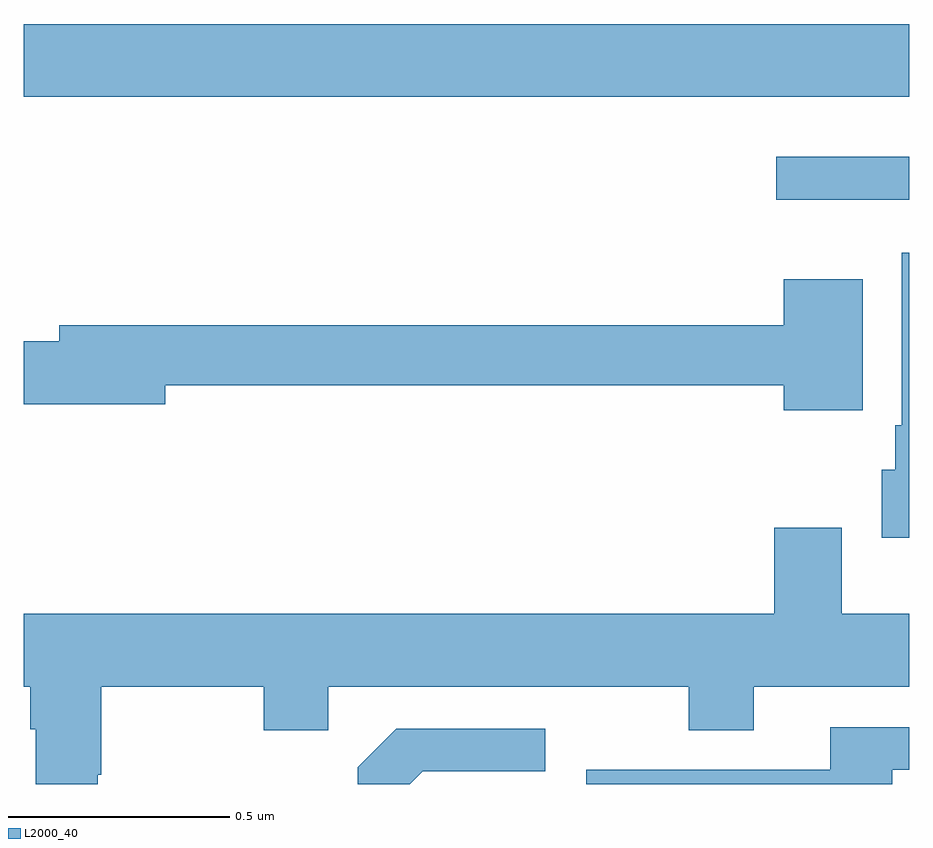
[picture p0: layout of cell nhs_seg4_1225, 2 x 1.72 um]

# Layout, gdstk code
import gdstk
lib = gdstk.Library(unit=1e-6, precision=1e-09)
def R(c, l, rs):  # rectangles x0, y0, x1, y1
    for r in rs: c.add(gdstk.rectangle(r[:2], r[2:], *l))
def P(c, l, *ps):  # polygons
    for p in ps: c.add(gdstk.Polygon(p, *l))
L2000_40 = (2000, 40)

nhs_seg4_1225 = lib.new_cell('nhs_seg4_1225')
R(nhs_seg4_1225, L2000_40, [(126.699,831.219,127,831.316), (125,831.452,127,831.616)])
P(nhs_seg4_1225, L2000_40, [(127,831.1),(126.983,831.1),(126.983,830.71),(126.968,830.71),(126.968,830.61),(126.938,830.61),(126.938,830.456),(127,830.456)],
  [(126.895,831.04),(126.716,831.04),(126.716,830.936),(125.081,830.936),(125.081,830.9),(125,830.9),(125,830.758),(125.32,830.758),(125.32,830.8),(126.716,830.8),(126.716,830.744),(126.895,830.744)],
  [(125.167,829.921),(125.175,829.921),(125.175,830.12),(125.542,830.12),(125.542,830.021),(125.688,830.021),(125.688,830.12),(126.502,830.12),(126.502,830.021),(126.649,830.021),(126.649,830.12),(127,830.12),(127,830.284),(126.847,830.284),(126.847,830.479),(126.695,830.479),(126.695,830.284),(125,830.284),(125,830.12),(125.015,830.12),(125.015,830.024),(125.027,830.024),(125.027,829.9),(125.167,829.9)],
  [(126.961,829.932),(127,829.932),(127,830.028),(126.821,830.028),(126.821,829.932),(126.27,829.932),(126.27,829.9),(126.961,829.9)],
  [(125.901,829.929),(126.178,829.929),(126.178,830.025),(125.841,830.025),(125.754,829.938),(125.754,829.9),(125.872,829.9)])

lib.write_gds('nhs_seg4_1225.gds')
